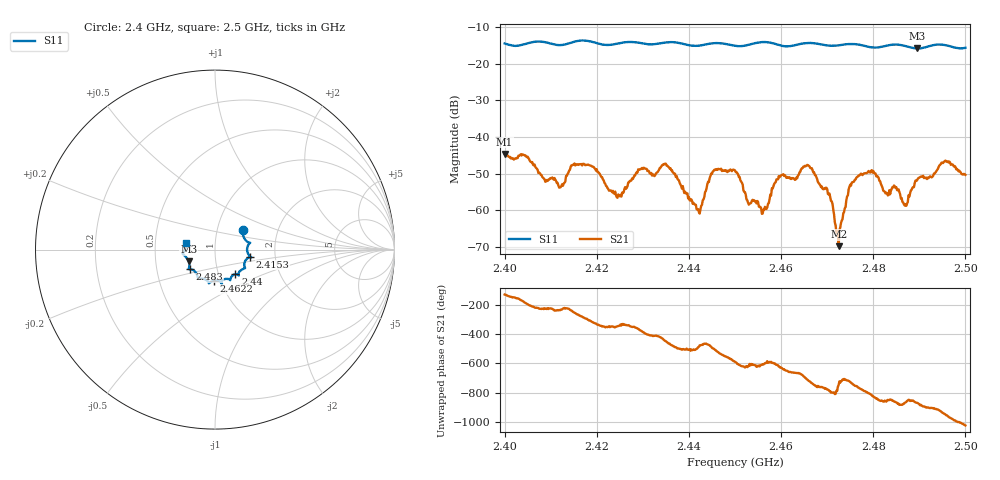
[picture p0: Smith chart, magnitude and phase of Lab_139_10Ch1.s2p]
# Hz S RI R 50
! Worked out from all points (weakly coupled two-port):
!   601 points, 2.4 GHz to 2.5 GHz, reference 50 ohm
!   highest |S21| = -44.66 dB at 2.4 GHz (marker M1); lowest = -69.8 dB at 2.4725 GHz (marker M2)
!   lowest |S11| = -15.9 dB at 2.4895 GHz (marker M3), VSWR 1.38, Z = 36.9 - j4.99 ohm
!   |S11| at or under -10 dB: start of sweep to end of sweep
!   S12 and S22 are empty: the file has one direction only
!   S11 on the Smith chart (normalised r, x): 2.4 GHz: 1.33, +0.29; 2.4153 GHz: 1.48, -0.12; 2.44 GHz: 1.20, -0.34; 2.4622 GHz: 0.93, -0.33; 2.483 GHz: 0.74, -0.17; 2.5 GHz: 0.72, +0.06
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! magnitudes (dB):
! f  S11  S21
! 2.4 GHz  -14.5  -44.7
! 2.4122 GHz  -15.0  -53.7
! 2.4153 GHz  -14.0  -47.8
! 2.4167 GHz  -13.7  -47.4
! 2.4248 GHz  -14.4  -55.9
! 2.4333 GHz  -14.6  -49.3
! 2.44 GHz  -15.0  -56.4
! 2.4422 GHz  -15.1  -60.5
! 2.4453 GHz  -14.4  -49.3
! 2.45 GHz  -15.1  -49.1
! 2.4563 GHz  -14.1  -59.8
! 2.4595 GHz  -14.9  -50.7
! 2.4622 GHz  -15.2  -51.5
! 2.4667 GHz  -14.4  -48.5
! 2.4725 GHz  -15.0  -69.8
! 2.4768 GHz  -14.8  -50.5
! 2.483 GHz  -15.1  -55.4
! 2.4833 GHz  -15.0  -55.9
! 2.487 GHz  -15.2  -58.3
! 2.4895 GHz  -15.9  -51.8
! 2.4957 GHz  -15.0  -46.5
! 2.5 GHz  -15.7  -50.3
